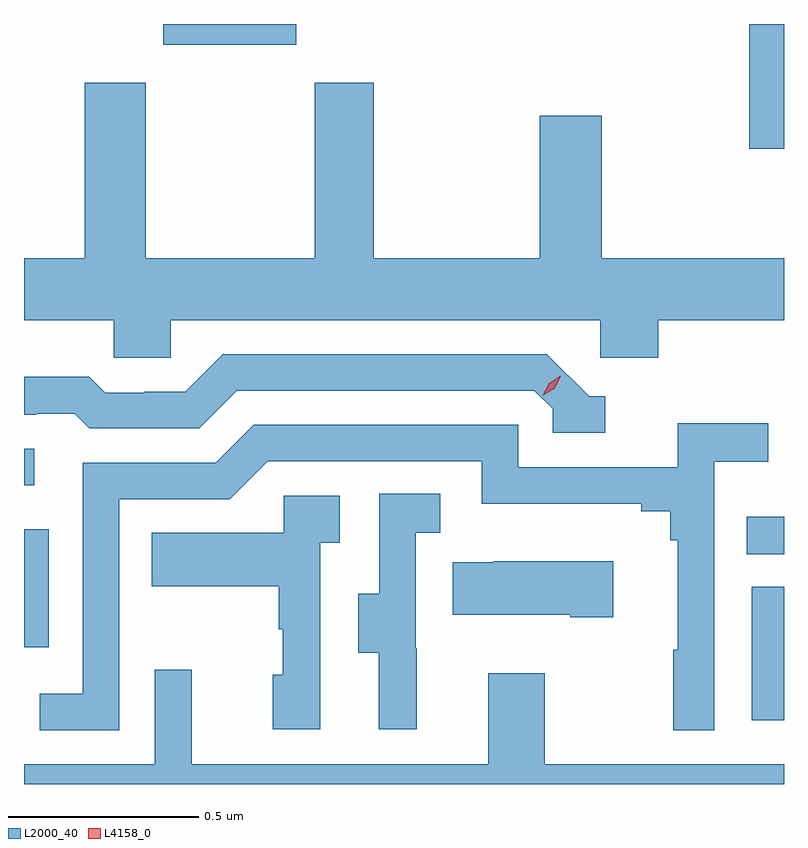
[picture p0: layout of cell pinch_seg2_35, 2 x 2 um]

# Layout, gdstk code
import gdstk
lib = gdstk.Library(unit=1e-6, precision=1e-09)
def R(c, l, rs):  # rectangles x0, y0, x1, y1
    for r in rs: c.add(gdstk.rectangle(r[:2], r[2:], *l))
def P(c, l, *ps):  # polygons
    for p in ps: c.add(gdstk.Polygon(p, *l))
L2000_40 = (2000, 40)
L4158_0 = (4158, 0)

pinch_seg2_35 = lib.new_cell('pinch_seg2_35')
R(pinch_seg2_35, L2000_40, [(1124.606,646.584,1124.691,646.935), (1122.691,646.776,1122.756,647.086), (1124.593,647.02,1124.691,647.119), (1122.691,647.202,1122.718,647.298), (1124.599,648.088,1124.691,648.416), (1123.058,648.362,1123.408,648.416)])
P(pinch_seg2_35, L2000_40, [(1123.077,647.636),(1124.208,647.636),(1124.208,647.538),(1124.36,647.538),(1124.36,647.636),(1124.691,647.636),(1124.691,647.8),(1124.212,647.8),(1124.212,648.175),(1124.048,648.175),(1124.048,647.8),(1123.611,647.8),(1123.611,648.262),(1123.456,648.262),(1123.456,647.8),(1123.011,647.8),(1123.011,648.262),(1122.851,648.262),(1122.851,647.8),(1122.691,647.8),(1122.691,647.636),(1122.927,647.636),(1122.927,647.538),(1123.077,647.538)],
  [(1124.221,647.436),(1124.178,647.436),(1124.067,647.547),(1123.214,647.547),(1123.115,647.448),(1123.008,647.448),(1123.008,647.445),(1122.905,647.445),(1122.863,647.488),(1122.691,647.488),(1122.691,647.388),(1122.725,647.388),(1122.725,647.391),(1122.824,647.391),(1122.863,647.352),(1123.152,647.352),(1123.251,647.451),(1124.034,647.451),(1124.082,647.403),(1124.082,647.34),(1124.221,647.34)],
  [(1122.942,647.166),(1123.233,647.166),(1123.332,647.265),(1123.896,647.265),(1123.896,647.153),(1124.315,647.153),(1124.315,647.134),(1124.392,647.134),(1124.392,647.057),(1124.411,647.057),(1124.411,646.769),(1124.4,646.769),(1124.4,646.557),(1124.508,646.557),(1124.508,647.264),(1124.65,647.264),(1124.65,647.366),(1124.411,647.366),(1124.411,647.25),(1123.992,647.25),(1123.992,647.361),(1123.295,647.361),(1123.196,647.262),(1122.846,647.262),(1122.846,646.653),(1122.733,646.653),(1122.733,646.557),(1122.942,646.557)],
  [(1123.724,646.773),(1123.722,646.773),(1123.722,647.077),(1123.786,647.077),(1123.786,647.18),(1123.626,647.18),(1123.626,646.917),(1123.571,646.917),(1123.571,646.762),(1123.625,646.762),(1123.625,646.56),(1123.724,646.56)],
  [(1123.47,647.051),(1123.522,647.051),(1123.522,647.175),(1123.374,647.175),(1123.374,647.077),(1123.027,647.077),(1123.027,646.937),(1123.362,646.937),(1123.362,646.823),(1123.372,646.823),(1123.372,646.704),(1123.346,646.704),(1123.346,646.56),(1123.47,646.56)],
  [(1124.242,647.002),(1123.927,647.002),(1123.927,646.999),(1123.819,646.999),(1123.819,646.862),(1124.129,646.862),(1124.129,646.855),(1124.242,646.855)],
  [(1124.691,646.468),(1124.061,646.468),(1124.061,646.708),(1123.913,646.708),(1123.913,646.468),(1123.133,646.468),(1123.133,646.717),(1123.035,646.717),(1123.035,646.468),(1122.691,646.468),(1122.691,646.416),(1124.691,646.416)])
P(pinch_seg2_35, L4158_0, [(1124.056,647.439),(1124.056,647.439),(1124.073,647.471),(1124.104,647.49),(1124.104,647.49),(1124.104,647.49),(1124.088,647.457),(1124.057,647.439)])

lib.write_gds('pinch_seg2_35.gds')
